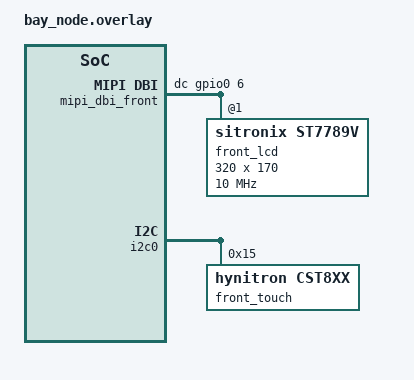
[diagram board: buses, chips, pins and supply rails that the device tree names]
/*
 * The front display on the bay node: a study, revision A has no connector
 * for it.  The panel on SPI2 with the camera, CS on IO5 and DC on IO6, the
 * node's two free pins (electronics/bay-node/design.py); the panel's and
 * the touch controller's resets on the node's EN, the backlight always on,
 * the touch controller polled on I2C0 (address 0x15).  Panel settings: the
 * TL019FQV01 shield's, the same 1.9" ST7789V glass, landscape.
 *
 * SPDX-License-Identifier: Apache-2.0
 */

#include <zephyr/dt-bindings/mipi_dbi/mipi_dbi.h>
#include <zephyr/dt-bindings/display/panel.h>

/ {
	chosen {
		zephyr,display = &front_lcd;
	};

	mipi_dbi_front {
		compatible = "zephyr,mipi-dbi-spi";
		spi-dev = <&spi2>;
		dc-gpios = <&gpio0 6 GPIO_ACTIVE_HIGH>;
		write-only;
		#address-cells = <1>;
		#size-cells = <0>;

		front_lcd: st7789v@1 {
			compatible = "sitronix,st7789v";
			reg = <1>;
			mipi-max-frequency = <10000000>;
			width = <320>;
			height = <170>;
			x-offset = <0>;
			y-offset = <35>;
			vcom = <0x2b>;
			gctrl = <0x35>;
			vrhs = <0x0f>;
			vdvs = <0x20>;
			mdac = <0x60>;
			gamma = <0x01>;
			pixel-format = <PANEL_PIXEL_FORMAT_RGB_565>;
			lcm = <0x2c>;
			porch-param = [0c 0c 00 33 33];
			cmd2en-param = [5a 69 02 01];
			pwctrl1-param = [52 a1];
			pvgam-param = [d0 00 02 07 0b 1a 31 54 40 29 12 12 12 17];
			nvgam-param = [d0 00 02 07 05 15 2d 44 44 1c 18 16 1c 1d];
			ram-param = [00 f8];
			rgb-param = [cd 08 14];
			mipi-mode = "MIPI_DBI_MODE_SPI_4WIRE";
		};
	};

	lvgl_pointer {
		compatible = "zephyr,lvgl-pointer-input";
		input = <&front_touch>;
	};
};

&spi2 {
	cs-gpios = <&gpio0 8 GPIO_ACTIVE_LOW>, <&gpio0 5 GPIO_ACTIVE_LOW>;
};

&i2c0 {
	front_touch: touch@15 {
		compatible = "hynitron,cst8xx";
		reg = <0x15>;
		/* The panel is portrait: landscape swaps the touch axes */
		swapped-x-y;
	};
};
